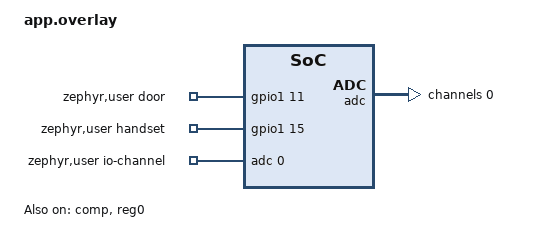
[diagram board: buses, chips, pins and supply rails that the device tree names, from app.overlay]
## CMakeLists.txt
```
cmake_minimum_required(VERSION 3.20.0)

find_package(Zephyr REQUIRED HINTS $ENV{ZEPHYR_BASE})
project(intercom_nrf)

target_sources(app PRIVATE src/main.c)
```

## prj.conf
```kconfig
# The Adafruit bootloader takes UF2 files; the base board variant does not emit one by itself.
CONFIG_BUILD_OUTPUT_UF2=y

CONFIG_GPIO=y
CONFIG_COMPARATOR=y
CONFIG_ADC=y
# sys_reboot() for the BLE bootloader command.
CONFIG_REBOOT=y

CONFIG_BT=y
CONFIG_BT_PERIPHERAL=y
CONFIG_BT_MAX_CONN=1
CONFIG_BT_DEVICE_NAME="Intercom-BLE"
# nRF52840 ceiling.
CONFIG_BT_CTLR_TX_PWR_PLUS_8=y

# Release build: no USB. The board's CDC ACM console enables USB at boot, and
# the nRF USB driver then holds the 32 MHz crystal even on battery. debug.conf
# turns it back on for the bench.
CONFIG_BOARD_SERIAL_BACKEND_CDC_ACM=n
CONFIG_USB_DEVICE_STACK_NEXT=n

# This board has the 32 kHz crystal. On one without it bt_enable() never
# returns with XTAL selected; switch to CONFIG_CLOCK_CONTROL_NRF_K32SRC_RC=y.
CONFIG_CLOCK_CONTROL_NRF_K32SRC_XTAL=y

# A fatal error (fault, stack overflow, controller assert) otherwise halts the
# CPU for good, adverts included. Boot mode is NONE and HA re-sends its mode.
CONFIG_RESET_ON_FATAL_ERROR=y
```

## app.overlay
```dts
/*
 * Pro Micro nRF52840 (nice!nano v2 pinout) on an intercom handset.
 *
 *   P1.11  Omron G3VM-61D1 (NO)   high = "door open" button pressed
 *   P1.15  CPC1117N (NC)          high = handset picked up
 *   P0.02  AIN0                   ring signal, 12 V square through 100k/20k (~2.0 V)
 *
 * The relay outputs drive PhotoMOS LEDs, hence high drive (H0H1, ~10 mA).
 */

#include <zephyr/dt-bindings/gpio/nordic-nrf-gpio.h>
#include <zephyr/dt-bindings/adc/nrf-saadc.h>
#include <zephyr/dt-bindings/comparator/nrf-comp.h>
#include <zephyr/dt-bindings/regulator/nrf5x.h>

/*
 * Flash, as the Adafruit UF2 bootloader (0.6.0, no SoftDevice) lays it out:
 * MBR at 0, application from 0x1000, bootloader from 0xF4000. The board's
 * default table is MCUboot's, so it is replaced. UF2 blocks above 0xAD000 are
 * refused by that bootloader, which bounds the application.
 */
/ {
	chosen {
		zephyr,code-partition = &code_partition;
	};
};

/delete-node/ &boot_partition;
/delete-node/ &slot0_partition;
/delete-node/ &slot1_partition;
/delete-node/ &storage_partition;

&flash0 {
	partitions {
		code_partition: partition@1000 {
			label = "application";
			reg = <0x00001000 0x000ac000>;
		};
	};
};

/ {
	zephyr,user {
		door-gpios = <&gpio1 11 (GPIO_ACTIVE_HIGH | NRF_GPIO_DRIVE_H0H1)>;
		handset-gpios = <&gpio1 15 (GPIO_ACTIVE_HIGH | NRF_GPIO_DRIVE_H0H1)>;
		io-channels = <&adc 0>;
	};
};

/*
 * Ring detector. VDD is the board's 3.3 V regulator, so 2/8 VDD is ~0.83 V,
 * between the divider's 0 V and ~2.0 V. Calibration knob: if the line idles
 * above 0 V or the ring is weaker, move refsel.
 */
&comp {
	compatible = "nordic,nrf-lpcomp";
	status = "okay";
	psel = <NRF_COMP_AIN0>;
	refsel = "VDD_2_8";
	enable-hyst;
};

/*
 * Battery: on nice!nano v2 clones B+ goes straight to VDDH (REG0 makes the
 * 3.3 V), so VDDH/5 against the 0.6 V reference at gain 1/6 (3.6 V full scale)
 * reads it with no external divider.
 */
&adc {
	#address-cells = <1>;
	#size-cells = <0>;
	status = "okay";

	channel@0 {
		reg = <0>;
		zephyr,gain = "ADC_GAIN_1_6";
		zephyr,reference = "ADC_REF_INTERNAL";
		zephyr,acquisition-time = <ADC_ACQ_TIME_DEFAULT>;
		zephyr,input-positive = <NRF_SAADC_VDDHDIV5>;
		zephyr,resolution = <12>;
		zephyr,oversampling = <4>;
	};
};

/*
 * Both DC/DC stages on: REG1 (VDD -> core/radio) roughly halves the radio's
 * battery current, REG0 (VDDH -> VDD) saves another 10-20 % with the battery on
 * VDDH. Each needs its inductor on the board (DCC for REG1, DCCH for REG0);
 * without it the app does not run. Recover with a double-tap on RST (the
 * bootloader runs before this takes effect) and drop the stage that lacks it.
 * Zephyr's soc.c reads these at boot: reg1's mode, reg0's status.
 */
&reg1 {
	regulator-initial-mode = <NRF5X_REG_MODE_DCDC>;
};

&reg0 {
	status = "okay";
};

&uart0 {
	status = "disabled";
};

&i2c0 {
	status = "disabled";
};

&i2c1 {
	status = "disabled";
};

&spi2 {
	status = "disabled";
};

&pwm0 {
	status = "disabled";
};

&ieee802154 {
	status = "disabled";
};
```

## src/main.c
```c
// Battery-powered BLE intercom module on a Pro Micro nRF52840.
//
// LPCOMP on AIN0 watches the ring line; two PhotoMOS relays emulate the
// handset (P1.15) and the "door open" button (P1.11). State goes out in the
// advertising data so Home Assistant can follow it passively; a client
// connects only to write a mode to CTRL.
//
// Power is the espaper nRF port's approach: System ON idle with slow
// connectable adverts, the SoftDevice Controller sleeping the CPU and HFXO
// between events. System OFF would take BLE down with it. Any event
// (ring start/end, open, deny, mode change) restarts advertising at a fast
// interval for a short burst so the new payload is seen at once.

#include <zephyr/bluetooth/bluetooth.h>
#include <zephyr/bluetooth/conn.h>
#include <zephyr/bluetooth/gatt.h>
#include <zephyr/bluetooth/uuid.h>
#include <zephyr/drivers/adc.h>
#include <zephyr/drivers/comparator.h>
#include <zephyr/drivers/gpio.h>
#include <zephyr/kernel.h>
#include <zephyr/sys/reboot.h>
#include <zephyr/sys/atomic.h>
#include <zephyr/sys/byteorder.h>
#include <zephyr/sys/printk.h>
#include <string.h>

// --- knobs: tune against the real intercom ------------------------------------

// A ring is over once no rising edge has been seen for this long, and never
// sooner than this after our own action ends. That one window both keeps one
// call's ring cadence a single ring and stops the relays or the intercom's
// reaction to them from starting a new one.
#define RING_GAP_MS 3000
// From the first ring edge to picking up the handset.
#define RING_ACTION_DELAY_MS 1000
// Handset held up before the button (ALLOW).
#define PICKUP_MS 1000
// "Door open" button press length.
#define PRESS_MS 500
// Last handset-up stretch: after the button is released (ALLOW), or the whole
// hold (DENY). The panel needs ~2 s to see it.
#define HANGUP_MS 2000

// Advertising, in 0.625 ms units: slow 1.0-1.5 s idle, fast 30-60 ms in a burst.
#define ADV_SLOW_MIN 1600
#define ADV_SLOW_MAX 2400
#define ADV_FAST_MIN 48
#define ADV_FAST_MAX 96
#define FAST_ADV_BURST_MS 3000

#define BATTERY_PERIOD_MS (60 * 1000)
// A client that connects and stalls would otherwise keep adverts off for good.
#define SESSION_TIMEOUT_MS 10000

// Last resort, so the module can never go silent until someone presses RST:
// it reboots (back in NONE, HA re-sends the mode) if a disconnect it asked for
// is not confirmed in this long, if advertising stays down this long while
// unconnected, or if main() stops looping for this long.
#define DISCONNECT_GRACE_MS 5000
#define ADV_DOWN_MAX_MS 15000
#define MAIN_STALL_MAX_MS (2 * BATTERY_PERIOD_MS)

#define PROTOCOL_VERSION 1

enum mode
{
  MODE_NONE = 0,
  MODE_DENY = 1,
  MODE_ALLOW = 2,
  MODE_ALLOW_UNTIL = 3,
  MODE_ALLOW_N = 4,
};

// Debug: drive the relays by hand, [OP_RELAYS, bit0 door | bit1 handset]. It
// only duplicates the physical buttons, so it stays in release builds. Held
// only while the client stays connected.
#define OP_RELAYS 0x10
#define RELAY_DOOR BIT(0)
#define RELAY_HANDSET BIT(1)

// Maintenance: [OP_BOOTLOADER] reboots into the Adafruit UF2 bootloader, the
// same as a double-tap on RST, so the board can be reflashed over USB without
// opening the case. The bootloader picks the mode from GPREGRET after a soft
// reset; 0x57 is its DFU_MAGIC_UF2_RESET.
#define OP_BOOTLOADER 0x20
#define GPREGRET_UF2 0x57

// --- hardware --------------------------------------------------------------------

static const struct gpio_dt_spec s_door = GPIO_DT_SPEC_GET(DT_PATH(zephyr_user), door_gpios);
static const struct gpio_dt_spec s_handset = GPIO_DT_SPEC_GET(DT_PATH(zephyr_user), handset_gpios);
static const struct adc_dt_spec s_vbat = ADC_DT_SPEC_GET_BY_IDX(DT_PATH(zephyr_user), 0);
static const struct device *const s_comp = DEVICE_DT_GET(DT_NODELABEL(comp));

// --- state -------------------------------------------------------------------------

// Bits in s_flags, set from callbacks, consumed by main().
enum
{
  F_RING_START,    // a ring began and wants the mode's action
  F_RING_CHANGED,  // ringing went on or off
  F_ADV_LOST,      // a connection stopped advertising
};
static atomic_t s_flags;
static K_SEM_DEFINE(s_event, 0, 1);

static volatile bool s_ringing;
static volatile uint16_t s_ring_cnt;
// An action is running: the ring cannot end under it.
static volatile bool s_acting;
static uint16_t s_open_cnt, s_deny_cnt, s_batt_mv;

// Main-thread only; CTRL writes reach it through s_cmds.
static enum mode s_mode = MODE_NONE;
static int64_t s_deadline;   // MODE_ALLOW_UNTIL, k_uptime ms
static uint32_t s_opens_left;  // MODE_ALLOW_N

struct cmd
{
  uint8_t mode;
  uint32_t arg;
};
K_MSGQ_DEFINE(s_cmds, sizeof(struct cmd), 4, 4);

// --- ring detection (LPCOMP ISR) -------------------------------------------------

static void ring_end(struct k_work *work)
{
  if (s_acting)
  {
    return;  // ring_action() re-arms this when it is done
  }
  s_ringing = false;
  atomic_set_bit(&s_flags, F_RING_CHANGED);
  k_sem_give(&s_event);
}
static K_WORK_DELAYABLE_DEFINE(s_ring_end, ring_end);

static void on_ring_edge(const struct device *dev, void *user_data)
{
  if (!s_ringing)
  {
    s_ringing = true;
    s_ring_cnt++;
    atomic_set_bit(&s_flags, F_RING_START);
    atomic_set_bit(&s_flags, F_RING_CHANGED);
    k_sem_give(&s_event);
  }
  k_work_reschedule(&s_ring_end, K_MSEC(RING_GAP_MS));
}

// --- BLE ----------------------------------------------------------------------------

#define IC_UUID(w16) BT_UUID_128_ENCODE(0xce780000u | (w16), 0x18cf, 0x43f4, 0x97fa, 0x9fc4443b48e5)
static const struct bt_uuid_128 s_svc_uuid = BT_UUID_INIT_128(IC_UUID(0x0000));
#define CHR_CTRL BT_UUID_DECLARE_128(IC_UUID(0x0001))
#define CHR_STATE BT_UUID_DECLARE_128(IC_UUID(0x0002))

// Manufacturer data: company 0xFFFF (testing), magic "IC", then the 15-byte
// state that STATE also serves. Layout in README.md.
#define STATE_LEN 15
static uint8_t s_mfg[4 + STATE_LEN] = {0xFF, 0xFF, 'I', 'C'};
#define S_STATE (&s_mfg[4])

static struct bt_conn *s_conn;
static volatile bool s_connected;
static volatile int64_t s_last_activity;

static void touch(void)
{
  s_last_activity = k_uptime_get();
  k_sem_give(&s_event);
}

static ssize_t write_ctrl(struct bt_conn *conn, const struct bt_gatt_attr *attr, const void *buf,
                          uint16_t len, uint16_t offset, uint8_t flags)
{
  const uint8_t *p = buf;
  struct cmd c = {0};
  touch();
  if (offset != 0)
  {
    return BT_GATT_ERR(BT_ATT_ERR_INVALID_OFFSET);
  }
  if (len < 1)
  {
    return BT_GATT_ERR(BT_ATT_ERR_VALUE_NOT_ALLOWED);
  }
  c.mode = p[0];
  switch (c.mode)
  {
    case MODE_NONE:
    case MODE_DENY:
    case MODE_ALLOW:
      if (len != 1)
      {
        return BT_GATT_ERR(BT_ATT_ERR_VALUE_NOT_ALLOWED);
      }
      break;
    case MODE_ALLOW_UNTIL:  // seconds from now
    case MODE_ALLOW_N:      // number of opens
      if (len != 5 || (c.arg = sys_get_le32(p + 1)) == 0)
      {
        return BT_GATT_ERR(BT_ATT_ERR_VALUE_NOT_ALLOWED);
      }
      break;
    case OP_BOOTLOADER:
      if (len != 1)
      {
        return BT_GATT_ERR(BT_ATT_ERR_VALUE_NOT_ALLOWED);
      }
      break;
    case OP_RELAYS:
      if (len != 2 || (p[1] & ~(RELAY_DOOR | RELAY_HANDSET)) != 0)
      {
        return BT_GATT_ERR(BT_ATT_ERR_VALUE_NOT_ALLOWED);
      }
      c.arg = p[1];
      break;
    default:
      return BT_GATT_ERR(BT_ATT_ERR_VALUE_NOT_ALLOWED);
  }
  if (k_msgq_put(&s_cmds, &c, K_NO_WAIT) != 0)
  {
    return BT_GATT_ERR(BT_ATT_ERR_UNLIKELY);
  }
  return len;
}

static ssize_t read_state(struct bt_conn *conn, const struct bt_gatt_attr *attr, void *buf,
                          uint16_t len, uint16_t offset)
{
  return bt_gatt_attr_read(conn, attr, buf, len, offset, S_STATE, STATE_LEN);
}

BT_GATT_SERVICE_DEFINE(s_svc, BT_GATT_PRIMARY_SERVICE(&s_svc_uuid),
                       BT_GATT_CHARACTERISTIC(CHR_CTRL, BT_GATT_CHRC_WRITE | BT_GATT_CHRC_WRITE_WITHOUT_RESP,
                                              BT_GATT_PERM_WRITE, NULL, write_ctrl, NULL),
                       BT_GATT_CHARACTERISTIC(CHR_STATE, BT_GATT_CHRC_READ | BT_GATT_CHRC_NOTIFY,
                                              BT_GATT_PERM_READ, read_state, NULL, NULL),
                       BT_GATT_CCC(NULL, BT_GATT_PERM_READ | BT_GATT_PERM_WRITE));

// Service, then two attributes per characteristic.
#define STATE_ATTR (&s_svc.attrs[4])

static void on_connected(struct bt_conn *conn, uint8_t err)
{
  // A connectable advert stops on connect, even one that fails: a link lost
  // before the host saw it complete arrives here with err set.
  atomic_set_bit(&s_flags, F_ADV_LOST);
  if (err != 0)
  {
    k_sem_give(&s_event);
    return;
  }
  s_conn = bt_conn_ref(conn);
  s_connected = true;
  touch();
}

static void on_disconnected(struct bt_conn *conn, uint8_t reason)
{
  if (s_conn != NULL)
  {
    bt_conn_unref(s_conn);
    s_conn = NULL;
  }
  s_connected = false;
  k_sem_give(&s_event);
}

// The connection object is only free for a new connectable advert from here.
static void on_recycled(void)
{
  k_sem_give(&s_event);
}

BT_CONN_CB_DEFINE(s_conn_cbs) = {
    .connected = on_connected,
    .disconnected = on_disconnected,
    .recycled = on_recycled,
};

static const struct bt_data s_ad[] = {
    BT_DATA_BYTES(BT_DATA_FLAGS, BT_LE_AD_GENERAL | BT_LE_AD_NO_BREDR),
    BT_DATA(BT_DATA_MANUFACTURER_DATA, s_mfg, sizeof(s_mfg)),
};
static const struct bt_data s_sd[] = {
    BT_DATA(BT_DATA_NAME_COMPLETE, CONFIG_BT_DEVICE_NAME, sizeof(CONFIG_BT_DEVICE_NAME) - 1),
};
static const struct bt_le_adv_param s_adv_slow =
    BT_LE_ADV_PARAM_INIT(BT_LE_ADV_OPT_CONN, ADV_SLOW_MIN, ADV_SLOW_MAX, NULL);
static const struct bt_le_adv_param s_adv_fast =
    BT_LE_ADV_PARAM_INIT(BT_LE_ADV_OPT_CONN, ADV_FAST_MIN, ADV_FAST_MAX, NULL);

// -1 off, 0 slow, 1 fast. Main-thread only.
static int s_adv_kind = -1;
static int64_t s_burst_until;

// Pushes s_mfg to the air at the interval the burst calls for. Interval
// changes need a stop/start; same interval only needs new data.
static void adv_apply(int64_t now)
{
  if (atomic_test_and_clear_bit(&s_flags, F_ADV_LOST))
  {
    s_adv_kind = -1;
  }
  if (s_connected)
  {
    return;
  }
  const int want = now < s_burst_until;
  // -EAGAIN: the advert stopped behind our back; restart it below.
  if (want == s_adv_kind &&
      bt_le_adv_update_data(s_ad, ARRAY_SIZE(s_ad), s_sd, ARRAY_SIZE(s_sd)) != -EAGAIN)
  {
    return;
  }
  bt_le_adv_stop();
  const int err = bt_le_adv_start(want ? &s_adv_fast : &s_adv_slow, s_ad, ARRAY_SIZE(s_ad), s_sd,
                                  ARRAY_SIZE(s_sd));
  if (err != 0)
  {
    printk("adv start failed: %d\n", err);  // retried within a second, see main()
  }
  s_adv_kind = err != 0 ? -1 : want;
}

// --- state out ------------------------------------------------------------------

static void build_state(int64_t now)
{
  uint32_t remaining = 0;
  if (s_mode == MODE_ALLOW_UNTIL)
  {
    remaining = (uint32_t)((s_deadline - now + 999) / 1000);
  }
  else if (s_mode == MODE_ALLOW_N)
  {
    remaining = s_opens_left;
  }
  uint8_t *p = S_STATE;
  p[0] = PROTOCOL_VERSION;
  p[1] = s_mode;
  p[2] = s_ringing ? 1 : 0;
  sys_put_le16(s_ring_cnt, p + 3);
  sys_put_le16(s_open_cnt, p + 5);
  sys_put_le16(s_deny_cnt, p + 7);
  sys_put_le32(remaining, p + 9);
  sys_put_le16(s_batt_mv, p + 13);
}

// Rebuilds the state, notifies a connected client, updates the advert. A
// burst restarts adverts fast; battery and countdown updates do not burst.
static void publish(bool burst)
{
  const int64_t now = k_uptime_get();
  build_state(now);
  if (s_conn != NULL)
  {
    // -ENOTCONN if the client never subscribed; it can still read STATE.
    bt_gatt_notify(s_conn, STATE_ATTR, S_STATE, STATE_LEN);
  }
  if (burst)
  {
    s_burst_until = now + FAST_ADV_BURST_MS;
  }
  adv_apply(now);
}

// --- actions ---------------------------------------------------------------------

static void set_mode(enum mode m)
{
  s_mode = m;
  printk("mode %d\n", m);
}

// Returns true if the mode changed.
static bool expire(int64_t now)
{
  if (s_mode == MODE_ALLOW_UNTIL && now >= s_deadline)
  {
    set_mode(MODE_NONE);
    return true;
  }
  return false;
}

// Main-thread only, like every other relay write.
static uint8_t s_manual;

static void set_relays(uint8_t mask)
{
  gpio_pin_set_dt(&s_door, (mask & RELAY_DOOR) != 0);
  gpio_pin_set_dt(&s_handset, (mask & RELAY_HANDSET) != 0);
  if (mask != s_manual)
  {
    printk("relays %x\n", mask);
  }
  s_manual = mask;
}

// Returns true if the mode changed, i.e. the advert wants a burst.
static bool apply_cmd(const struct cmd *c)
{
  if (c->mode == OP_BOOTLOADER)
  {
    printk("rebooting into the UF2 bootloader\n");
    set_relays(0);
    k_msleep(200);  // let the write response reach the client
    NRF_POWER->GPREGRET = GPREGRET_UF2;
    sys_reboot(SYS_REBOOT_COLD);
  }
  if (c->mode == OP_RELAYS)
  {
    set_relays((uint8_t)c->arg);
    return false;
  }
  s_deadline = k_uptime_get() + (int64_t)c->arg * 1000;
  s_opens_left = c->arg;
  set_mode(c->mode);
  return true;
}

static void ring_action(void)
{
  expire(k_uptime_get());
  const enum mode m = s_mode;
  if (m == MODE_NONE)
  {
    return;
  }
  s_acting = true;
  k_msleep(RING_ACTION_DELAY_MS);
  gpio_pin_set_dt(&s_handset, 1);
  if (m != MODE_DENY)
  {
    k_msleep(PICKUP_MS);
    gpio_pin_set_dt(&s_door, 1);
    k_msleep(PRESS_MS);
    gpio_pin_set_dt(&s_door, 0);
  }
  k_msleep(HANGUP_MS);
  set_relays(0);  // also ends any manual hold the action ran over
  // The ring may end at the earliest RING_GAP_MS from now; edges until then
  // only extend it, as during the action.
  k_work_reschedule(&s_ring_end, K_MSEC(RING_GAP_MS));
  s_acting = false;

  if (m == MODE_DENY)
  {
    s_deny_cnt++;
    printk("denied\n");
    return;
  }
  s_open_cnt++;
  printk("opened\n");
  if (m == MODE_ALLOW_N && --s_opens_left == 0)
  {
    set_mode(MODE_NONE);
  }
}

static void read_battery(void)
{
  static unsigned s_reads;
  int16_t raw = 0;
  // Offset calibration on the first read and every 10th after: it drifts with
  // temperature, and once a minute would be wasted.
  struct adc_sequence seq = {
      .buffer = &raw, .buffer_size = sizeof(raw), .calibrate = s_reads++ % 10 == 0};
  adc_sequence_init_dt(&s_vbat, &seq);
  if (adc_read_dt(&s_vbat, &seq) != 0)
  {
    return;
  }
  int32_t mv = raw;
  adc_raw_to_millivolts_dt(&s_vbat, &mv);
  s_batt_mv = (uint16_t)CLAMP(mv * 5, 0, UINT16_MAX);  // VDDH/5
}

// --- last resort ---------------------------------------------------------------

static volatile int64_t s_main_alive;

// Timer ISR: runs whatever state the threads are in.
static void watchdog(struct k_timer *timer)
{
  if (k_uptime_get() - s_main_alive > MAIN_STALL_MAX_MS)
  {
    sys_reboot(SYS_REBOOT_COLD);
  }
}
static K_TIMER_DEFINE(s_watchdog, watchdog, NULL);

// --- main ------------------------------------------------------------------------

int main(void)
{
  gpio_pin_configure_dt(&s_door, GPIO_OUTPUT_INACTIVE);
  gpio_pin_configure_dt(&s_handset, GPIO_OUTPUT_INACTIVE);
  adc_channel_setup_dt(&s_vbat);
  read_battery();
  int64_t next_battery = k_uptime_get() + BATTERY_PERIOD_MS;
  printk("\nintercom boot, battery %u mV\n", s_batt_mv);

  const int err = bt_enable(NULL);
  if (err != 0)
  {
    printk("bt_enable failed: %d\n", err);
    return 0;
  }

  if (comparator_set_trigger_callback(s_comp, on_ring_edge, NULL) != 0 ||
      comparator_set_trigger(s_comp, COMPARATOR_TRIGGER_RISING_EDGE) != 0)
  {
    printk("lpcomp setup failed, rings will not be seen\n");
  }

  s_main_alive = k_uptime_get();
  k_timer_start(&s_watchdog, K_SECONDS(10), K_SECONDS(10));
  int64_t disconnect_at = 0;  // we asked the client to go, at this uptime
  int64_t adv_down_since = 0;

  publish(false);
  while (true)
  {
    int64_t now = k_uptime_get();
    s_main_alive = now;
    bool burst = false;

    struct cmd c;
    while (k_msgq_get(&s_cmds, &c, K_NO_WAIT) == 0)
    {
      burst |= apply_cmd(&c);
    }
    if (s_manual != 0 && !s_connected)
    {
      set_relays(0);  // a manual hold never outlives its client
    }
    burst |= expire(now);
    if (atomic_test_and_clear_bit(&s_flags, F_RING_CHANGED))
    {
      printk("ringing %d\n", s_ringing);
      burst = true;
    }
    if (atomic_test_and_clear_bit(&s_flags, F_RING_START))
    {
      publish(true);  // the ring itself goes out before the action
      ring_action();
      burst = true;
      now = k_uptime_get();
    }
    if (now >= next_battery)
    {
      read_battery();
      next_battery = now + BATTERY_PERIOD_MS;
    }
    if (!s_connected)
    {
      disconnect_at = 0;
    }
    else if (disconnect_at == 0 && now - s_last_activity > SESSION_TIMEOUT_MS && s_conn != NULL)
    {
      printk("session idle, dropping\n");
      bt_conn_disconnect(s_conn, BT_HCI_ERR_REMOTE_USER_TERM_CONN);
      disconnect_at = now;
    }
    else if (disconnect_at != 0 && now - disconnect_at > DISCONNECT_GRACE_MS)
    {
      sys_reboot(SYS_REBOOT_COLD);  // the stack never confirmed the disconnect
    }
    publish(burst);
    if (s_connected || s_adv_kind >= 0)
    {
      adv_down_since = 0;
    }
    else if (adv_down_since == 0)
    {
      adv_down_since = now;
    }
    else if (now - adv_down_since > ADV_DOWN_MAX_MS)
    {
      sys_reboot(SYS_REBOOT_COLD);  // restarts kept failing
    }

    // Sleep until the next thing that has a time, or any event.
    int64_t next = next_battery;
    if (s_burst_until > now)
    {
      next = MIN(next, s_burst_until);
    }
    if (s_mode == MODE_ALLOW_UNTIL)
    {
      next = MIN(next, s_deadline);
    }
    if (disconnect_at != 0)
    {
      next = MIN(next, disconnect_at + DISCONNECT_GRACE_MS + 1);
    }
    else if (s_connected)
    {
      next = MIN(next, s_last_activity + SESSION_TIMEOUT_MS + 1);
    }
    else if (s_adv_kind < 0)
    {
      next = MIN(next, now + 1000);  // advert restart failed; try again
    }
    k_sem_take(&s_event, K_TIMEOUT_ABS_MS(next));
  }
  return 0;
}
```
